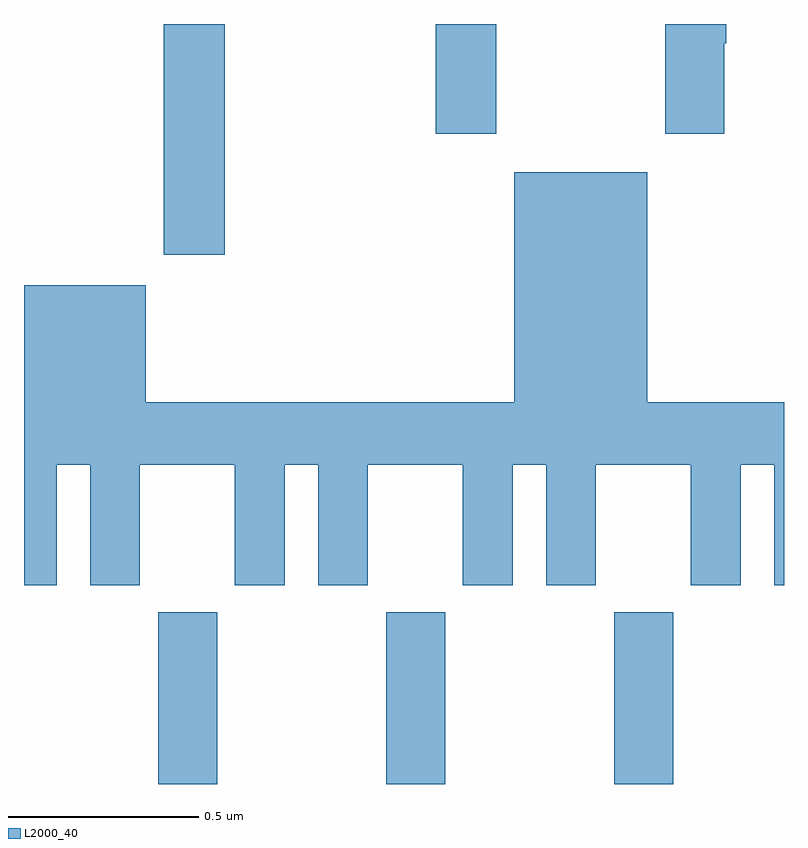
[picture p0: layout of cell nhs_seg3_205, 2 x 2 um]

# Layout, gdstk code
import gdstk
lib = gdstk.Library(unit=1e-6, precision=1e-09)
def R(c, l, rs):  # rectangles x0, y0, x1, y1
    for r in rs: c.add(gdstk.rectangle(r[:2], r[2:], *l))
def A(c, l, x, y, w, h, nx, ny, dx, dy):  # array of equal rectangles
    R(c, l, [(x+i*dx, y+j*dy, x+i*dx+w, y+j*dy+h) for i in range(nx) for j in range(ny)])
def P(c, l, *ps):  # polygons
    for p in ps: c.add(gdstk.Polygon(p, *l))
L2000_40 = (2000, 40)

nhs_seg3_205 = lib.new_cell('nhs_seg3_205')
A(nhs_seg3_205, L2000_40, 113.353, 709.4, 0.155, 0.452, 3, 1, 0.6, 0)
R(nhs_seg3_205, L2000_40, [(113.368,710.793,113.528,711.4), (114.083,711.111,114.243,711.4)])
P(nhs_seg3_205, L2000_40, [(114.843,711.35),(114.848,711.35),(114.848,711.4),(114.688,711.4),(114.688,711.111),(114.843,711.111)],
  [(113.086,710.24),(113.174,710.24),(113.174,709.923),(113.305,709.923),(113.305,710.24),(113.555,710.24),(113.555,709.923),(113.686,709.923),(113.686,710.24),(113.774,710.24),(113.774,709.923),(113.905,709.923),(113.905,710.24),(114.155,710.24),(114.155,709.923),(114.286,709.923),(114.286,710.24),(114.374,710.24),(114.374,709.923),(114.505,709.923),(114.505,710.24),(114.755,710.24),(114.755,709.923),(114.886,709.923),(114.886,710.24),(114.974,710.24),(114.974,709.923),(115,709.923),(115,710.404),(114.64,710.404),(114.64,711.01),(114.29,711.01),(114.29,710.404),(113.32,710.404),(113.32,710.713),(113,710.713),(113,709.923),(113.086,709.923)])

lib.write_gds('nhs_seg3_205.gds')
